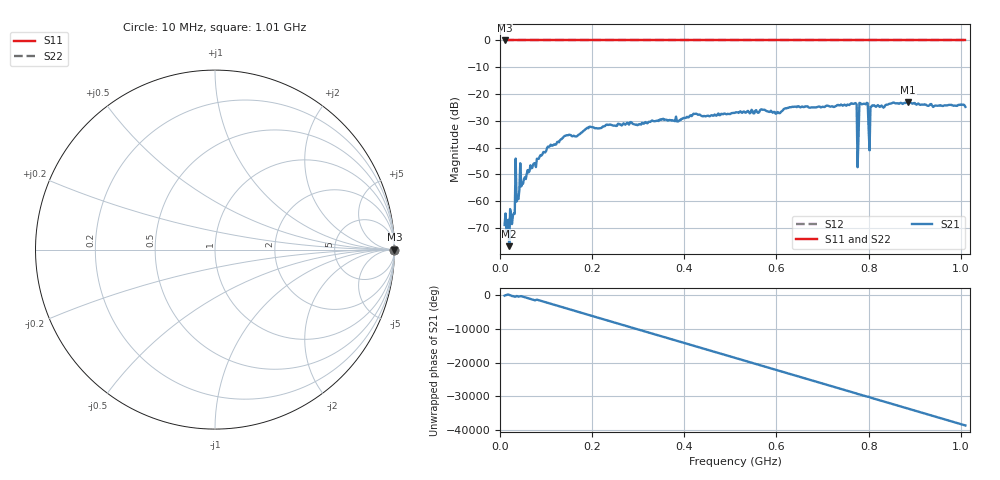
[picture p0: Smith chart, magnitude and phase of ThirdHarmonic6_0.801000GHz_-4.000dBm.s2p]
! 8/16/2025 2:42:05 AM
! C:\ANRITSUVNA\TEMP\TEMP.S2P
! CHANNEL.1
! TR.MEASUREMENT
! RAW.DATA
! RF.CORRECTION.OFF
! AVERAGING.OFF
! IF.BANDWIDTH: 5KHZ
! SWEEPTYPE:  FREQ.SWEEP(Linear)
! Reference Plane Port Info
! PORT:  PORT1  PORT2
! DISTANCE:  0  m  0  m
! TIME:  0  s  0  s
! PHASE.OFFSET:  0  deg.  0  deg.
! LOSS:  0  dB  0  dB
! REF.LOSS:  0  dB  0  dB
! REF.FREQ:  0  Hz  0  Hz
! Power Info
! POWER:  -20  dBm  -20  dBm
! EFF.POWER:  -20  dBm  -20  dBm
! SOURCE.ATTEN:  0  dB  0  dB
! TEST.ATTEN:  0  dB  0  dB
# GHZ S RI R 50.0
! FREQ.GHZ  S11RE  S11IM  S21RE  S21IM  S12RE  S12IM  S22RE  S22IM
!; PortSelection: Port_12
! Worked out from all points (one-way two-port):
!   501 points, 10 MHz to 1.01 GHz, reference 50 ohm
!   highest |S21| = -23.05 dB at 886 MHz (marker M1); lowest = -76.7 dB at 20 MHz (marker M2)
!   lowest |S11| = 0.0 dB at 10 MHz (marker M3)
!   |S11| at or under -10 dB: nowhere
!   |S22| runs from 0.0 to 0.0 dB; largest |S21 - S12| = 1.1
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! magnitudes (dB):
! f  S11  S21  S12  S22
! 10 MHz  0.0  -68.8  0.0  0.0
! 20 MHz  0.0  -76.7  0.0  0.0
! 28 MHz  0.0  -65.4  0.0  0.0
! 30 MHz  0.0  -64.5  0.0  0.0
! 38 MHz  0.0  -58.6  0.0  0.0
! 84 MHz  0.0  -44.2  0.0  0.0
! 140 MHz  0.0  -35.6  0.0  0.0
! 178 MHz  0.0  -34.3  0.0  0.0
! 344 MHz  0.0  -30.0  0.0  0.0
! 510 MHz  0.0  -27.0  0.0  0.0
! 678 MHz  0.0  -24.9  0.0  0.0
! 770 MHz  0.0  -23.5  0.0  0.0
! 774 MHz  0.0  -23.9  0.0  0.0
! 780 MHz  0.0  -23.3  0.0  0.0
! 784 MHz  0.0  -23.8  0.0  0.0
! 794 MHz  0.0  -23.8  0.0  0.0
! 798 MHz  0.0  -23.4  0.0  0.0
! 804 MHz  0.0  -24.8  0.0  0.0
! 808 MHz  0.0  -24.2  0.0  0.0
! 844 MHz  0.0  -23.7  0.0  0.0
! 886 MHz  0.0  -23.1  0.0  0.0
! 1.01 GHz  0.0  -24.8  0.0  0.0
